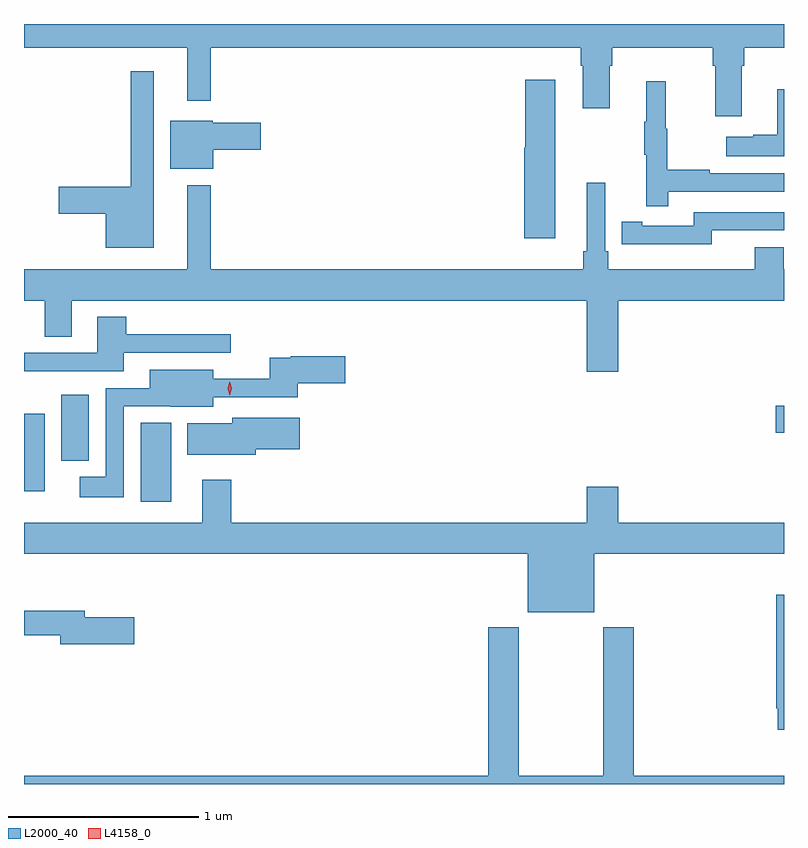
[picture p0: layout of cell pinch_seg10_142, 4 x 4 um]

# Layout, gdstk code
import gdstk
lib = gdstk.Library(unit=1e-6, precision=1e-09)
def R(c, l, rs):  # rectangles x0, y0, x1, y1
    for r in rs: c.add(gdstk.rectangle(r[:2], r[2:], *l))
def P(c, l, *ps):  # polygons
    for p in ps: c.add(gdstk.Polygon(p, *l))
L2000_40 = (2000, 40)
L4158_0 = (4158, 0)

pinch_seg10_142 = lib.new_cell('pinch_seg10_142')
R(pinch_seg10_142, L2000_40, [(678.143,1280.61,678.304,1281.025), (677.529,1280.664,677.638,1281.073), (677.726,1280.825,677.869,1281.172), (681.486,1280.974,681.529,1281.116)])
P(pinch_seg10_142, L2000_40, [(681.307,1282.904),(681.32,1282.904),(681.32,1283),(681.529,1283),(681.529,1283.124),(677.529,1283.124),(677.529,1283),(678.389,1283),(678.389,1282.719),(678.511,1282.719),(678.511,1283),(680.459,1283),(680.459,1282.904),(680.471,1282.904),(680.471,1282.68),(680.611,1282.68),(680.611,1282.904),(680.624,1282.904),(680.624,1283),(681.155,1283),(681.155,1282.904),(681.167,1282.904),(681.167,1282.638),(681.307,1282.638)],
  [(678.211,1282.876),(678.09,1282.876),(678.09,1282.268),(677.712,1282.268),(677.712,1282.126),(677.96,1282.126),(677.96,1281.947),(678.211,1281.947)],
  [(680.326,1282.831),(680.168,1282.831),(680.168,1282.473),(680.162,1282.473),(680.162,1281.996),(680.326,1281.996)],
  [(680.921,1282.242),(681.529,1282.242),(681.529,1282.338),(681.137,1282.338),(681.137,1282.358),(680.914,1282.358),(680.914,1282.572),(680.906,1282.572),(680.906,1282.822),(680.804,1282.822),(680.804,1282.609),(680.793,1282.609),(680.793,1282.435),(680.804,1282.435),(680.804,1282.164),(680.921,1282.164)],
  [(681.529,1282.78),(681.494,1282.78),(681.494,1282.541),(681.368,1282.541),(681.368,1282.531),(681.225,1282.531),(681.225,1282.427),(681.529,1282.427)],
  [(678.526,1282.463),(678.775,1282.463),(678.775,1282.605),(678.522,1282.605),(678.522,1282.615),(678.299,1282.615),(678.299,1282.361),(678.526,1282.361)],
  [(680.656,1281.668),(681.529,1281.668),(681.529,1281.832),(681.527,1281.832),(681.527,1281.949),(681.374,1281.949),(681.374,1281.832),(680.603,1281.832),(680.603,1281.928),(680.589,1281.928),(680.589,1282.288),(680.492,1282.288),(680.492,1281.928),(680.473,1281.928),(680.473,1281.832),(678.511,1281.832),(678.511,1282.276),(678.389,1282.276),(678.389,1281.832),(677.529,1281.832),(677.529,1281.668),(677.639,1281.668),(677.639,1281.478),(677.779,1281.478),(677.779,1281.668),(680.492,1281.668),(680.492,1281.294),(680.656,1281.294)],
  [(681.15,1282.038),(681.529,1282.038),(681.529,1282.134),(681.054,1282.134),(681.054,1282.062),(680.782,1282.062),(680.782,1282.082),(680.674,1282.082),(680.674,1281.966),(680.782,1281.966),(680.782,1281.965),(681.15,1281.965)],
  [(678.055,1281.393),(678.616,1281.393),(678.616,1281.49),(678.068,1281.49),(678.068,1281.583),(677.915,1281.583),(677.915,1281.393),(677.529,1281.393),(677.529,1281.297),(678.055,1281.297)],
  [(678.054,1281.111),(678.3,1281.111),(678.3,1281.11),(678.526,1281.11),(678.526,1281.159),(678.971,1281.159),(678.971,1281.233),(679.219,1281.233),(679.219,1281.375),(678.934,1281.375),(678.934,1281.367),(678.823,1281.367),(678.823,1281.256),(678.526,1281.256),(678.526,1281.304),(678.191,1281.304),(678.191,1281.207),(677.958,1281.207),(677.958,1280.74),(677.823,1280.74),(677.823,1280.633),(678.054,1280.633)],
  [(678.748,1280.887),(678.979,1280.887),(678.979,1281.052),(678.626,1281.052),(678.626,1281.022),(678.389,1281.022),(678.389,1280.858),(678.748,1280.858)],
  [(680.53,1280.336),(681.529,1280.336),(681.529,1280.5),(680.656,1280.5),(680.656,1280.689),(680.492,1280.689),(680.492,1280.5),(678.62,1280.5),(678.62,1280.725),(678.467,1280.725),(678.467,1280.5),(677.529,1280.5),(677.529,1280.336),(680.18,1280.336),(680.18,1280.027),(680.53,1280.027)],
  [(681.529,1280.12),(681.487,1280.12),(681.487,1279.522),(681.495,1279.522),(681.495,1279.41),(681.529,1279.41)],
  [(678.109,1280.001),(677.848,1280.001),(677.848,1280.035),(677.529,1280.035),(677.529,1279.906),(677.72,1279.906),(677.72,1279.859),(678.109,1279.859)],
  [(681.529,1279.168),(680.738,1279.168),(680.738,1279.948),(680.578,1279.948),(680.578,1279.168),(680.133,1279.168),(680.133,1279.948),(679.973,1279.948),(679.973,1279.168),(677.529,1279.168),(677.529,1279.124),(681.529,1279.124)])
P(pinch_seg10_142, L4158_0, [(678.611,1281.17),(678.611,1281.17),(678.602,1281.206),(678.613,1281.242),(678.613,1281.242),(678.613,1281.242),(678.622,1281.206),(678.612,1281.17)])

lib.write_gds('pinch_seg10_142.gds')
